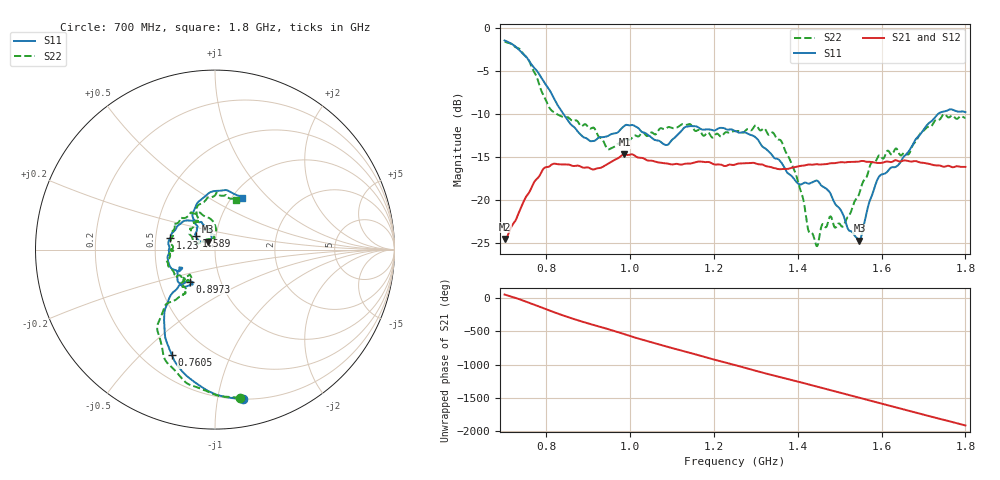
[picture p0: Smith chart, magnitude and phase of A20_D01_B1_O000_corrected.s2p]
! Created with skrf 1.9.0 (http://scikit-rf.org).
# Hz S RI R 50.0
!freq ReS11 ImS11 ReS21 ImS21 ReS12 ImS12 ReS22 ImS22
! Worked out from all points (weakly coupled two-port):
!   1601 points, 700 MHz to 1.8 GHz, reference 50 ohm
!   highest |S21| = -14.67 dB at 986 MHz (marker M1); lowest = -24.6 dB at 700 MHz (marker M2)
!   lowest |S11| = -24.8 dB at 1.547 GHz (marker M3), VSWR 1.12, Z = 46.3 + j4.13 ohm
!   |S11| at or under -10 dB: 840.5 MHz to 1.734 GHz (893.8 MHz wide, 69.4 % of centre)
!   |S22| runs from -25.4 to -1.5 dB; largest |S21 - S12| = 0.0037
!   S11 on the Smith chart (normalised r, x): 700 MHz: 0.20, -1.19; 760.5 MHz: 0.32, -0.62; 897.3 MHz: 0.71, -0.27; 1.23 GHz: 0.60, +0.08; 1.589 GHz: 0.80, +0.12; 1.8 GHz: 1.11, +0.71
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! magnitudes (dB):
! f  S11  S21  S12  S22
! 700 MHz  -1.4  -24.6  -24.3  -1.5
! 760.5 MHz  -4.0  -19.0  -18.8  -4.0
! 810 MHz  -7.4  -16.0  -15.9  -9.5
! 883.6 MHz  -12.5  -16.2  -16.1  -11.4
! 897.3 MHz  -12.9  -16.2  -16.3  -11.4
! 947.5 MHz  -12.5  -15.8  -15.8  -14.1
! 986 MHz  -11.4  -14.7  -14.8  -13.0
! 1.067 GHz  -13.1  -15.6  -15.6  -11.9
! 1.23 GHz  -11.8  -16.0  -15.9  -12.1
! 1.25 GHz  -12.0  -15.9  -15.8  -12.0
! 1.36 GHz  -15.6  -16.4  -16.4  -13.1
! 1.395 GHz  -17.8  -16.2  -16.2  -17.0
! 1.434 GHz  -18.0  -15.9  -15.9  -23.9
! 1.445 GHz  -17.7  -15.8  -15.9  -25.4
! 1.477 GHz  -19.2  -15.7  -15.8  -22.0
! 1.508 GHz  -21.8  -15.6  -15.6  -23.1
! 1.547 GHz  -24.8  -15.5  -15.5  -19.2
! 1.589 GHz  -17.7  -15.7  -15.7  -15.2
! 1.617 GHz  -16.5  -15.6  -15.5  -14.3
! 1.664 GHz  -14.4  -15.5  -15.5  -14.7
! 1.737 GHz  -9.9  -16.0  -16.0  -10.7
! 1.8 GHz  -9.8  -16.2  -16.1  -10.4
